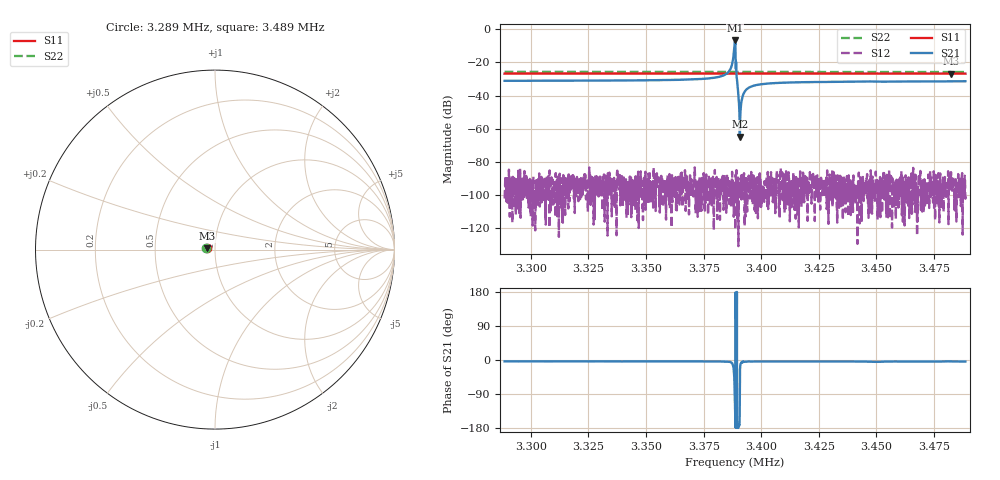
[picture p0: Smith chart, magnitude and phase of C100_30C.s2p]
# Hz S dB R 50.000
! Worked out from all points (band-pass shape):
!   6401 points, 3.289 MHz to 3.489 MHz, reference 50 ohm
!   highest |S21| = -6.78 dB at 3.389 MHz (marker M1); lowest = -64.7 dB at 3.391 MHz (marker M2)
!   |S21| within 3 dB of the highest: 3.388353 MHz to 3.388769 MHz (415.6 Hz wide, 0.0123 % of centre)
!   lowest |S11| = -26.7 dB at 3.482 MHz (marker M3), VSWR 1.10, Z = 45.6 + j0.566 ohm
!   |S11| at or under -10 dB: start of sweep to end of sweep
!   |S22| runs from -25.8 to -25.7 dB; largest |S21 - S12| = 0.46
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3288594  -26.71 170.5  -31.08 -3.5  -102.01 144.7  -25.69 168.8
3321938  -26.72 170.8  -30.98 -3.7  -92.70 -18.8  -25.71 169.1
3355282  -26.72 171.1  -30.67 -3.7  -89.27 43.7  -25.73 169.4
3381938  -26.72 171.4  -28.59 -4.1  -98.17 27.8  -25.74 169.7
3385594  -26.72 171.4  -26.01 -4.6  -99.42 18.4  -25.74 169.7
3386875  -26.72 171.4  -23.18 -6.1  -99.14 83.3  -25.74 169.7
3387844  -26.72 171.4  -17.31 -17.4  -94.73 41.7  -25.74 169.7
3388188  -26.72 171.4  -12.35 -37.0  -101.26 123.8  -25.74 169.8
3388594  -26.72 171.4  -6.78 -115.6  -95.71 -170.2  -25.73 169.7
3389282  -26.72 171.4  -28.71 -171.7  -87.33 45.5  -25.74 169.7
3389906  -26.73 171.4  -37.08 -177.6  -94.39 166.9  -25.74 169.7
3390219  -26.72 171.4  -42.96 -174.3  -106.50 101.2  -25.74 169.7
3390688  -26.72 171.4  -64.67 -98.1  -93.22 27.0  -25.74 169.7
3391375  -26.72 171.4  -43.51 -6.4  -102.54 22.6  -25.74 169.7
3392125  -26.72 171.5  -39.48 -5.1  -93.49 65.8  -25.74 169.8
3393094  -26.73 171.5  -37.07 -4.3  -106.07 32.0  -25.75 169.8
3396375  -26.72 171.5  -34.17 -3.9  -98.73 115.5  -25.75 169.8
3404719  -26.72 171.6  -32.57 -3.8  -90.52 50.1  -25.75 169.9
3421938  -26.72 171.7  -31.83 -3.9  -97.36 -32.0  -25.76 170.0
3455282  -26.73 172.0  -31.57 -4.1  -92.79 -12.8  -25.77 170.3
3482500  -26.74 172.3  -31.34 -3.8  -89.39 -37.6  -25.79 170.6
3488594  -26.73 172.3  -31.34 -4.1  -99.87 25.8  -25.79 170.7
